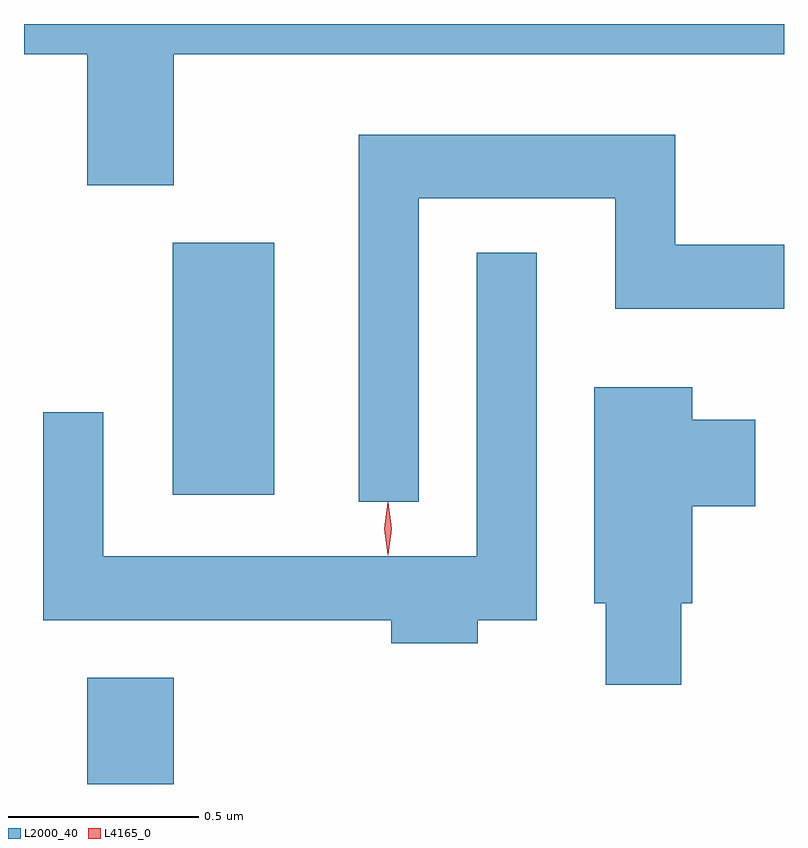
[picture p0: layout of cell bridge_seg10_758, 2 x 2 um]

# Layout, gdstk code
import gdstk
lib = gdstk.Library(unit=1e-6, precision=1e-09)
def R(c, l, rs):  # rectangles x0, y0, x1, y1
    for r in rs: c.add(gdstk.rectangle(r[:2], r[2:], *l))
def P(c, l, *ps):  # polygons
    for p in ps: c.add(gdstk.Polygon(p, *l))
L2000_40 = (2000, 40)
L4165_0 = (4165, 0)

bridge_seg10_758 = lib.new_cell('bridge_seg10_758')
R(bridge_seg10_758, L2000_40, [(862.171,2143.075,862.399,2143.354), (862.396,2143.836,862.664,2144.499)])
P(bridge_seg10_758, L2000_40, [(862.399,2144.996),(864.005,2144.996),(864.005,2145.075),(862.005,2145.075),(862.005,2144.996),(862.171,2144.996),(862.171,2144.651),(862.399,2144.651)],
  [(863.044,2144.616),(863.561,2144.616),(863.561,2144.326),(864.005,2144.326),(864.005,2144.494),(863.719,2144.494),(863.719,2144.784),(862.886,2144.784),(862.886,2143.818),(863.044,2143.818)],
  [(863.199,2143.506),(863.354,2143.506),(863.354,2144.473),(863.196,2144.473),(863.196,2143.674),(862.214,2143.674),(862.214,2144.053),(862.056,2144.053),(862.056,2143.506),(862.971,2143.506),(862.971,2143.446),(863.199,2143.446)],
  [(863.734,2143.551),(863.764,2143.551),(863.764,2143.806),(863.929,2143.806),(863.929,2144.034),(863.764,2144.034),(863.764,2144.119),(863.506,2144.119),(863.506,2143.551),(863.536,2143.551),(863.536,2143.336),(863.734,2143.336)])
P(bridge_seg10_758, L4165_0, [(862.963,2143.677),(862.962,2143.678),(862.953,2143.747),(862.962,2143.816),(862.963,2143.816),(862.964,2143.816),(862.973,2143.747),(862.964,2143.678)])

lib.write_gds('bridge_seg10_758.gds')
